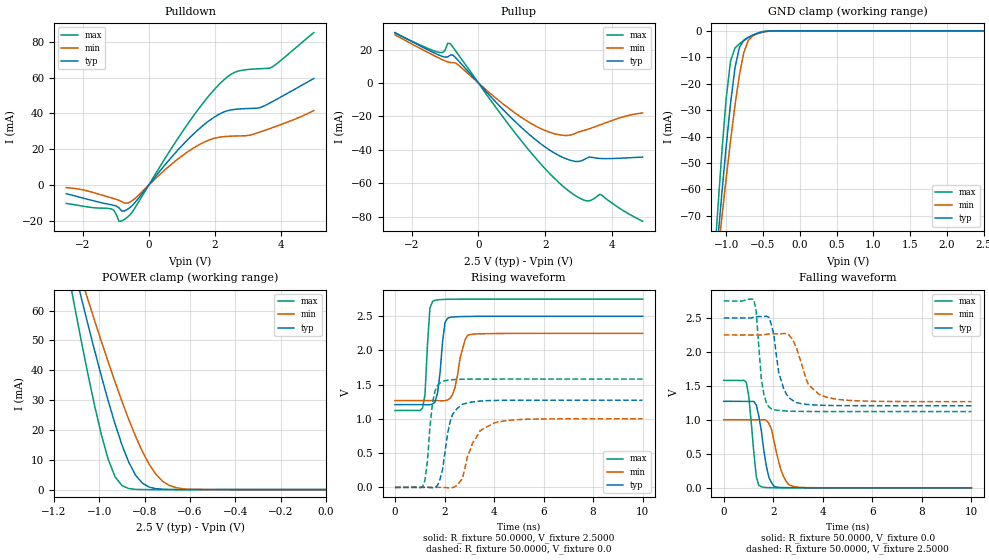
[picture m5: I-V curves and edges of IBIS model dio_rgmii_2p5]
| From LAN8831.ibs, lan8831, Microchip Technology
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[Model]  dio_rgmii_2p5
Model_type I/O
Polarity   Non-Inverting
Enable   Active-Low
Vinl =   0.975V
Vinh =   1.575V
C_comp   1.96pF   1.764pF   2.156pF
Vmeas =  1.2500V
Vref =   0.0V
[Temperature Range]   42.0000   0.1250k   -40.0000
[Voltage Range]   2.5000V   2.2500V   2.7500V
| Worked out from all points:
|   slope of the pulldown table from 0 to 0.375 V, typ, clamps not added: 43.3 ohm
|   slope of the pullup table from 0 to 0.375 V, typ, clamps not added: 45.3 ohm
|   GND clamp passes 1 mA (typ) near -0.58 V on its own axis
|   POWER clamp passes 1 mA (typ) near -0.78 V on its own axis
|   rising waveform, R_fixture 50.0000, V_fixture 2.5000: 20-80 % time 212ps typ, 327ps min, 150ps max; typ from 1.21 V to 2.5 V
|   rising waveform, R_fixture 50.0000, V_fixture 0.0: 20-80 % time 364ps typ, 621ps min, 244ps max; typ from 0 V to 1.27 V
|   falling waveform, R_fixture 50.0000, V_fixture 0.0: 20-80 % time 327ps typ, 418ps min, 240ps max; typ from 1.27 V to 0 V
|   falling waveform, R_fixture 50.0000, V_fixture 2.5000: 20-80 % time 389ps typ, 633ps min, 241ps max; typ from 2.5 V to 1.21 V
[Pulldown]
|Voltage   I(typ)   I(min)   I(max)
-2.5V     -4.794mA   -1.411mA   -10.25mA
-1.14V    -10.94mA   -7.093mA   -13.26mA
-1.06V    -11.27mA   -7.551mA   -13.98mA
-900mV    -12.7mA    -8.485mA   -20.2mA
-740mV    -14.45mA   -9.987mA   -19.17mA
-420mV    -9.846mA   -7.548mA   -12.81mA
1.18V     25.31mA    18.55mA    34.06mA
2.14V     39.61mA    26.73mA    56.3mA
2.7V      42.41mA    27.41mA    63.54mA
3.34V     43.08mA    29.41mA    64.89mA
3.74V     46.48mA    32mA       65.86mA
5V        59.45mA    41.59mA    85.09mA
[Pullup]
|Voltage   I(typ)   I(min)   I(max)
-2.5V     30.13mA    28.76mA    29.75mA
-1.16V    16.46mA    14.66mA    18.17mA
-1V       15.44mA    13.21mA    19.5mA
-920mV    15.55mA    12.6mA     23.77mA
-840mV    16.69mA    12.21mA    23.45mA
-600mV    13.3mA     10.69mA    16.82mA
1.16V     -24.22mA   -18.85mA   -31.43mA
2.2V      -40.97mA   -29.91mA   -55.49mA
2.92V     -46.96mA   -29.99mA   -67.56mA
3.32V     -44.31mA   -27.42mA   -70.49mA
3.64V     -45.15mA   -25.13mA   -66.56mA
4.92V     -44.36mA   -17.93mA   -82.74mA
[GND_clamp]
|Voltage   I(typ)   I(min)   I(max)
-2.5V     -572mA     -474.1mA   -699.4mA
-1.18V    -100.9mA   -102.3mA   -95.24mA
-1.12V    -81.17mA   -86.49mA   -70.26mA
-1.06V    -62.01mA   -70.98mA   -46.61mA
-1V       -43.84mA   -55.92mA   -25.7mA
-940mV    -27.33mA   -41.53mA   -11.37mA
-880mV    -14.01mA   -28.22mA   -6.49mA
-820mV    -6.278mA   -16.72mA   -4.911mA
-760mV    -3.544mA   -8.248mA   -3.701mA
-700mV    -2.428mA   -3.727mA   -2.612mA
-340mV    -10.35uA   -33.37uA   -1.321uA
2.5V      357.5pA    13.25nA    231.7pA
[POWER_clamp]
|Voltage   I(typ)   I(min)   I(max)
-2.5V     547.8mA    446.2mA    680.7mA
-1.14V    83.4mA     85.78mA    74.17mA
-1.11V    73.93mA    78.35mA    62.02mA
-1.08V    64.61mA    71mA       50.19mA
-1.05V    55.46mA    63.74mA    38.78mA
-990mV    37.9mA     49.57mA    18.25mA
-930mV    21.95mA    36.04mA    4.292mA
-840mV    4.853mA    17.89mA    83.72uA
-780mV    836.7uA    8.493mA    4.551uA
-720mV    103.4uA    2.757mA    246.4nA
-600mV    1.373uA    116.5uA    1.561nA
0V        357.4pA    3.641nA    316.1pA
[Ramp]
| variable   typ   min   max
dV/dt_r  0.7640/0.3726n   0.6016/0.6724n   0.9491/0.2003n
dV/dt_f  0.7750/0.3951n   0.5890/0.6724n   0.9763/0.2203n
R_load = 50.0000
[Rising Waveform]
R_fixture= 50.0000
V_fixture= 2.5000
V_fixture_min= 2.2500
V_fixture_max= 2.7500
|time   V(typ)   V(min)   V(max)
0s        1.208V     1.268V     1.123V
1.11ns    1.209V     1.269V     1.158V
1.21ns    1.209V     1.269V     1.347V
1.41ns    1.208V     1.269V     2.62V
1.62ns    1.249V     1.268V     2.733V
2.02ns    2.406V     1.268V     2.747V
2.12ns    2.47V      1.276V     2.748V
2.42ns    2.491V     1.454V     2.749V
2.93ns    2.497V     2.22V      2.75V
10ns      2.5V       2.25V      2.75V
[Rising Waveform]
R_fixture= 50.0000
V_fixture= 0.0
V_fixture_min= 0.0
V_fixture_max= 0.0
|time   V(typ)   V(min)   V(max)
0s        181.8uV    94.34uV    328.4uV
1.11ns    1.083mV    275.2uV    9.194mV
1.31ns    2.087mV    242.8uV    383.4mV
1.52ns    -5.764mV   404.8uV    1.249V
1.92ns    260.1mV    1.027mV    1.545V
2.22ns    950.8mV    -6.656mV   1.57V
2.73ns    1.215V     135.3mV    1.58V
3.13ns    1.249V     646.1mV    1.581V
3.94ns    1.27V      935.8mV    1.582V
10ns      1.273V     1.003V     1.582V
[Falling Waveform]
R_fixture= 50.0000
V_fixture= 0.0
V_fixture_min= 0.0
V_fixture_max= 0.0
|time   V(typ)   V(min)   V(max)
0s        1.273V     1.003V     1.582V
910ps     1.272V     1.002V     1.551V
1.01ns    1.272V     1.002V     1.346V
1.31ns    1.222V     1.002V     173.5mV
1.52ns    829.8mV    1.002V     15.15mV
1.72ns    318mV      994.2mV    4.892mV
1.92ns    79.43mV    868.1mV    2.393mV
2.32ns    5.363mV    252.4mV    798.1uV
2.73ns    2.012mV    29.61mV    284uV
10ns      9.906uV    7.619uV    16.87uV
[Falling Waveform]
R_fixture= 50.0000
V_fixture= 2.5000
V_fixture_min= 2.2500
V_fixture_max= 2.7500
|time   V(typ)   V(min)   V(max)
0s        2.5V       2.25V      2.75V
1.21ns    2.511V     2.25V      2.775V
1.31ns    2.519V     2.25V      2.597V
1.52ns    2.521V     2.248V     1.59V
1.92ns    2.402V     2.265V     1.163V
2.42ns    1.459V     2.27V      1.133V
2.93ns    1.255V     2.068V     1.125V
3.43ns    1.226V     1.512V     1.124V
4.04ns    1.214V     1.347V     1.123V
10ns      1.208V     1.268V     1.123V
